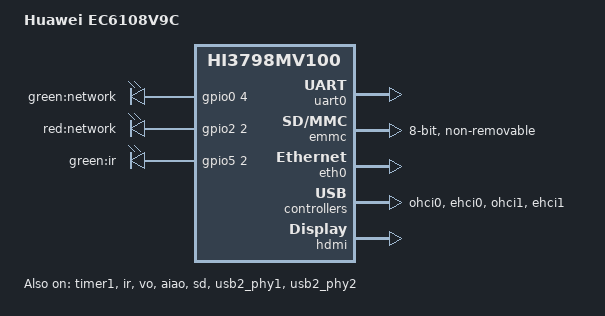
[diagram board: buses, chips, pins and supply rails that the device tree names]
// SPDX-License-Identifier: GPL-2.0-or-later OR MIT
/*
 * Copyright (c) 2023 David Yang
 */

/dts-v1/;
#include "hi3798mv100.dtsi"

/ {
	model = "Huawei EC6108V9C";

	compatible = "hisilicon,hi3798mv100-ec6108v9c",
		     "hisilicon,hi3798mv100";

	chosen {
		stdout-path = "serial0:115200n8";
	};

	reserved-memory {
		#address-cells = <1>;
		#size-cells = <1>;
		ranges;

		/*
		 * fastboot leaves its logo/upgrade buffers here and the VO
		 * keeps DMA-ing them while the kernel boots; keep the
		 * allocator away from that window.
		 */
		fastboot-cma@3f000000 {
			reg = <0x3f000000 0x1000000>;
			no-map;
		};
	};

	leds {
		compatible = "gpio-leds";

		network {
			label = "green:network";
			gpios = <&gpio0 4 GPIO_ACTIVE_HIGH>;
			default-state = "off";
		};

		network-activity {
			label = "red:network";
			gpios = <&gpio2 2 GPIO_ACTIVE_HIGH>;
			default-state = "off";
		};

		ir {
			label = "green:ir";
			gpios = <&gpio5 2 GPIO_ACTIVE_HIGH>;
			panic-indicator;
			default-state = "off";
		};
	};
};

&emmc_data {
	pinctrl-single,bias-pulldown = <
		PINCTRL_PULLDOWN(0, 1, 0, 1)
	>;
	pinctrl-single,slew-rate = <
		PINCTRL_SLEW_RATE(1, 1)
	>;
	pinctrl-single,drive-strength = <
		PINCTRL_DRV_STRENGTH(6, 7)
	>;
};

&emmc_detect {
	pinctrl-single,bias-pulldown = <
		PINCTRL_PULLDOWN(0, 1, 0, 1)
	>;
	pinctrl-single,slew-rate = <
		PINCTRL_SLEW_RATE(1, 1)
	>;
	pinctrl-single,drive-strength = <
		PINCTRL_DRV_STRENGTH(3, 3)
	>;
};

&emmc_ccmd {
	pinctrl-single,bias-pullup = <
		PINCTRL_PULLUP(0, 1, 0, 1)
	>;
	pinctrl-single,slew-rate = <
		PINCTRL_SLEW_RATE(1, 1)
	>;
	pinctrl-single,drive-strength = <
		PINCTRL_DRV_STRENGTH(6, 7)
	>;
};

&emmc_cclk_out {
	pinctrl-single,bias-pulldown = <
		PINCTRL_PULLDOWN(0, 1, 0, 1)
	>;
	pinctrl-single,slew-rate = <
		PINCTRL_SLEW_RATE(1, 1)
	>;
	pinctrl-single,drive-strength = <
		PINCTRL_DRV_STRENGTH(5, 7)
	>;
};

&emmc_rst {
	pinctrl-single,bias-pullup = <
		PINCTRL_PULLUP(0, 1, 0, 1)
	>;
	pinctrl-single,slew-rate = <
		PINCTRL_SLEW_RATE(1, 1)
	>;
	pinctrl-single,drive-strength = <
		PINCTRL_DRV_STRENGTH(3, 3)
	>;
};

&timer1 {
	status = "okay";
};

&uart0 {
	status = "okay";
};

&gpio0 {
	gpio-ranges = <
		&pmx0 2 10 1
		&pmx0 3 79 1
		&pmx0 4 21 4
	>;
	status = "okay";
};

&gpio2 {
	gpio-ranges = <
		&pmx0 0 25 1
		&pmx0 1 54 1
		&pmx0 2 55 2
	>;
	status = "okay";
};

&gpio4 {
	gpio-ranges = <
		&pmx0 0 80 2
	>;
	status = "okay";
};

&gpio5 {
	status = "okay";
};

&gpio6 {
	gpio-ranges = <
		&pmx0 0 82 2
	>;
	status = "okay";
};

&emmc {
	fifo-depth = <256>;
	clock-frequency = <100000000>;
	cap-mmc-highspeed;

	/*
	 * EC6108V9C: eMMC (H8G4a, 8 GB) is an 8-bit part.  Without "bus-width"
	 * mmc_of_parse() assumes 1 bit and mmc_validate_host_caps() then warns
	 * "drop UHS/DDR/HS200 support since 1-bit bus only" -- measured 2 MB/s.
	 *
	 * Stage 1: 8-bit data bus + high-speed timing only (3.3 V I/O, 52 MHz).
	 * The 1.8 V modes (mmc-ddr-1_8v / mmc-hs200-1_8v) are deliberately left
	 * out: the board has no vqmmc regulator and switching the rail blind
	 * risks a non-booting card.
	 */
	bus-width = <8>;
	pinctrl-names = "default";
	pinctrl-0 = <&emmc_data>, <&emmc_ccmd>, <&emmc_cclk_out>, <&emmc_rst>;

	non-removable;
	status = "okay";
};

&eth0 {
	status = "okay";
};

&ohci0 {
	status = "okay";
};

&ehci0 {
	status = "okay";
};

&ohci1 {
	status = "okay";
};

&ehci1 {
	status = "okay";
};

&ir {
	status = "okay";
};

/*
 * No ddc-i2c-bus: the EDID is read through the transmitter's own DDC master
 * (the SDK does the same in si_mddc.c), so the HDMI block keeps the DDC
 * pins.  An external bit-banging adapter on them could only win the race
 * when it probed after the HDMI block, and every read failed once it did.
 */
&hdmi {
	status = "okay";
};

&vo {
	status = "okay";
};

&aiao {
	status = "okay";
};

/ {
	sound {
		compatible = "simple-audio-card";
		simple-audio-card,name = "hi3798mv100-hdmi";
		simple-audio-card,format = "i2s";
		simple-audio-card,mclk-fs = <256>;
		simple-audio-card,bitclock-master = <&hdmi_cpu>;
		simple-audio-card,frame-master = <&hdmi_cpu>;
		hdmi_cpu: simple-audio-card,cpu {
			sound-dai = <&aiao>;
		};
		simple-audio-card,codec {
			sound-dai = <&hdmi>;
		};
	};
};

&sd {
	/*
	 * EC6108V9C SD slot (SDIO0, dw-mshc).  Without bus-width the core falls
	 * back to 1 bit and without cap-sd-highspeed it stays at 25 MHz default
	 * speed -- measured ~2 MB/s.
	 *
	 * The SoC's SDIO0 clock mux only offers 15/50/75/100 MHz, so 50 MHz x
	 * 4 bit = 25 MB/s is the realistic ceiling.  UHS-I (SDR50/SDR104) is
	 * deliberately not declared: it needs 1.8 V signalling and this board
	 * runs a fixed 12 V -> 3.3 V rail.
	 */
	bus-width = <4>;
	cap-sd-highspeed;
	max-frequency = <50000000>;
	status = "okay";
};

/* --- EC6108V9C: enable the two INNO USB2 PHYs (required by ehci0/ohci0/ehci1/ohci1) --- */
&usb2_phy1 {
	status = "okay";
};

&usb2_phy2 {
	status = "okay";
};

/* --- 固定 MMC 编号：eMMC = mmcblk0，SD 槽 = mmcblk1（否则探测器顺序会漂移）--- */
/ {
	aliases {
		mmc0 = &emmc;
		mmc1 = &sd;
	};
};
